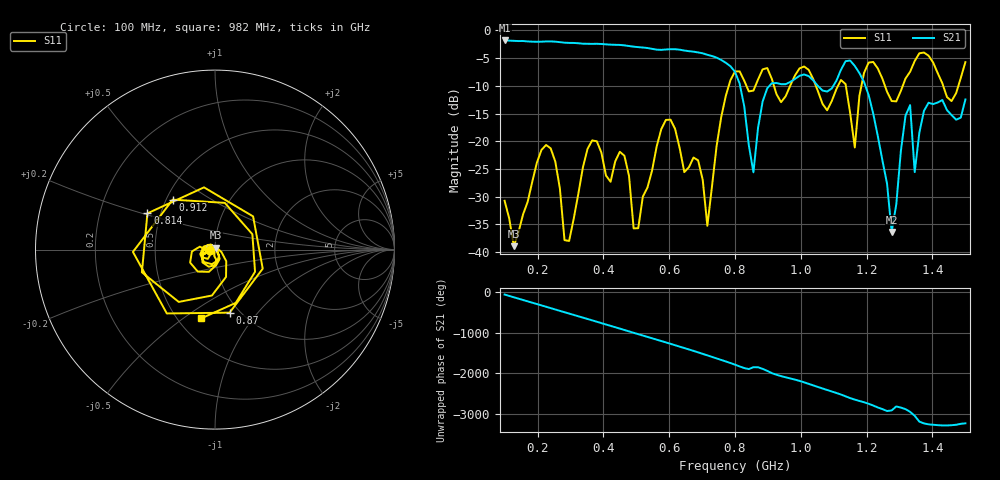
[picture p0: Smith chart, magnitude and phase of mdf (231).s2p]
! NanoVNA-App
! Date: 2025-09-25 15:40:13
! Start: 100MHz Stop: 1,5GHz Points: 101
! S-Parameter data: F S11 S21 S12 S22
# Hz S RI R 50
!  Frequency  S11_Real  S11_Imag  S21_Real  S21_Imag  S12_Real  S12_Imag  S22_Real  S22_Imag
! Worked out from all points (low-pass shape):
!   101 points, 100 MHz to 1.5 GHz, reference 50 ohm
!   highest |S21| = -1.80 dB at 100 MHz (marker M1); lowest = -36.4 dB at 1.276 GHz (marker M2)
!   |S21| within 3 dB of the highest: start of sweep to 739.2 MHz
!   lowest |S11| = -39.0 dB at 128 MHz (marker M3), VSWR 1.02, Z = 50.3 + j1.08 ohm
!   |S11| at or under -10 dB: start of sweep to 781 MHz; 1.046 GHz to 1.113 GHz (67.39 MHz wide, 6.24 % of centre); 1.256 GHz to 1.31 GHz (54.17 MHz wide, 4.22 % of centre) (the widest 3 of 7)
!   S12 and S22 are empty: the file has one direction only
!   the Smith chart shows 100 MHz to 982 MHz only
!   S11 on the Smith chart (normalised r, x): 100 MHz: 0.94, -0.01; 814 MHz: 0.42, +0.21; 870 MHz: 0.90, -0.73; 912 MHz: 0.54, +0.35; 982 MHz: 0.65, -0.59
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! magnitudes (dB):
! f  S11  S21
! 100 MHz  -30.8  -1.8
! 128 MHz  -39.0  -1.9
! 212 MHz  -21.6  -2.0
! 282 MHz  -37.9  -2.2
! 338 MHz  -24.7  -2.4
! 464 MHz  -22.6  -2.7
! 506 MHz  -35.7  -3.0
! 576 MHz  -17.8  -3.5
! 716 MHz  -35.3  -4.4
! 800 MHz  -7.4  -7.5
! 814 MHz  -7.4  -9.6
! 856 MHz  -10.9  -25.6
! 870 MHz  -8.9  -17.6
! 912 MHz  -8.8  -9.5
! 982 MHz  -8.1  -8.8
! 1.038 GHz  -8.8  -9.0
! 1.164 GHz  -21.1  -6.4
! 1.178 GHz  -11.8  -7.7
! 1.276 GHz  -12.7  -36.4
! 1.332 GHz  -7.5  -13.5
! 1.346 GHz  -5.5  -25.6
! 1.5 GHz  -5.7  -12.5
